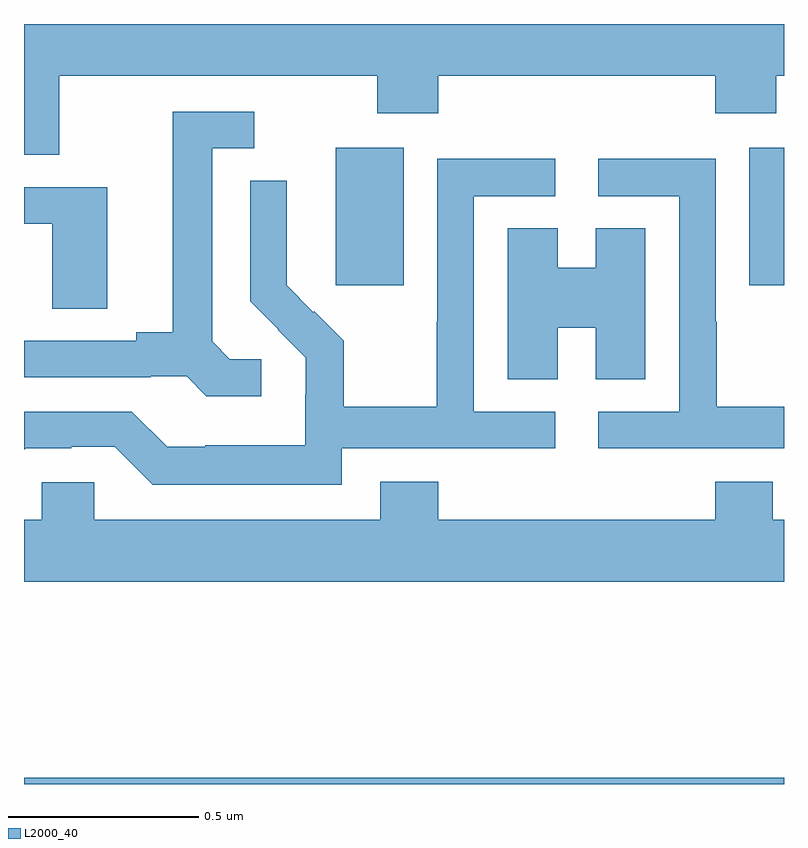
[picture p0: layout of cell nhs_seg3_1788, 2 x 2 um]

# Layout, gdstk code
import gdstk
lib = gdstk.Library(unit=1e-6, precision=1e-09)
def R(c, l, rs):  # rectangles x0, y0, x1, y1
    for r in rs: c.add(gdstk.rectangle(r[:2], r[2:], *l))
def P(c, l, *ps):  # polygons
    for p in ps: c.add(gdstk.Polygon(p, *l))
L2000_40 = (2000, 40)

nhs_seg3_1788 = lib.new_cell('nhs_seg3_1788')
R(nhs_seg3_1788, L2000_40, [(133,684.4,135,684.416), (133.82,685.713,133.999,686.074), (134.909,685.713,135,686.074)])
P(nhs_seg3_1788, L2000_40, [(133.093,686.264),(133.93,686.264),(133.93,686.165),(134.09,686.165),(134.09,686.264),(134.819,686.264),(134.819,686.165),(134.979,686.165),(134.979,686.264),(135,686.264),(135,686.4),(133,686.4),(133,686.056),(133.093,686.056)],
  [(133.624,685.518),(133.542,685.518),(133.495,685.565),(133.495,686.073),(133.606,686.073),(133.606,686.169),(133.391,686.169),(133.391,685.589),(133.295,685.589),(133.295,685.566),(133,685.566),(133,685.47),(133.334,685.47),(133.334,685.473),(133.428,685.473),(133.48,685.421),(133.624,685.421)],
  [(135,685.393),(134.823,685.393),(134.823,685.616),(134.82,685.616),(134.82,686.046),(134.511,686.046),(134.511,685.947),(134.724,685.947),(134.724,685.38),(134.511,685.38),(134.511,685.284),(135,685.284)],
  [(133.836,685.284),(134.398,685.284),(134.398,685.38),(134.184,685.38),(134.184,685.947),(134.398,685.947),(134.398,686.046),(134.088,686.046),(134.088,685.616),(134.086,685.616),(134.086,685.393),(133.841,685.393),(133.841,685.567),(133.764,685.644),(133.761,685.641),(133.691,685.712),(133.691,685.834),(133.692,685.834),(133.692,685.988),(133.596,685.988),(133.596,685.67),(133.669,685.597),(133.668,685.596),(133.742,685.522),(133.742,685.425),(133.74,685.425),(133.74,685.291),(133.477,685.291),(133.477,685.287),(133.377,685.287),(133.284,685.38),(133,685.38),(133,685.279),(133.005,685.284),(133.124,685.284),(133.124,685.287),(133.239,685.287),(133.339,685.187),(133.836,685.187)],
  [(133.219,685.971),(133,685.971),(133,685.875),(133.074,685.875),(133.074,685.651),(133.219,685.651)],
  [(134.404,685.601),(134.504,685.601),(134.504,685.465),(134.635,685.465),(134.635,685.862),(134.504,685.862),(134.504,685.759),(134.404,685.759),(134.404,685.862),(134.273,685.862),(134.273,685.465),(134.404,685.465)],
  [(135,685.096),(134.971,685.096),(134.971,685.195),(134.819,685.195),(134.819,685.096),(134.09,685.096),(134.09,685.195),(133.937,685.195),(133.937,685.096),(133.185,685.096),(133.185,685.194),(133.047,685.194),(133.047,685.096),(133,685.096),(133,684.932),(135,684.932)])

lib.write_gds('nhs_seg3_1788.gds')
